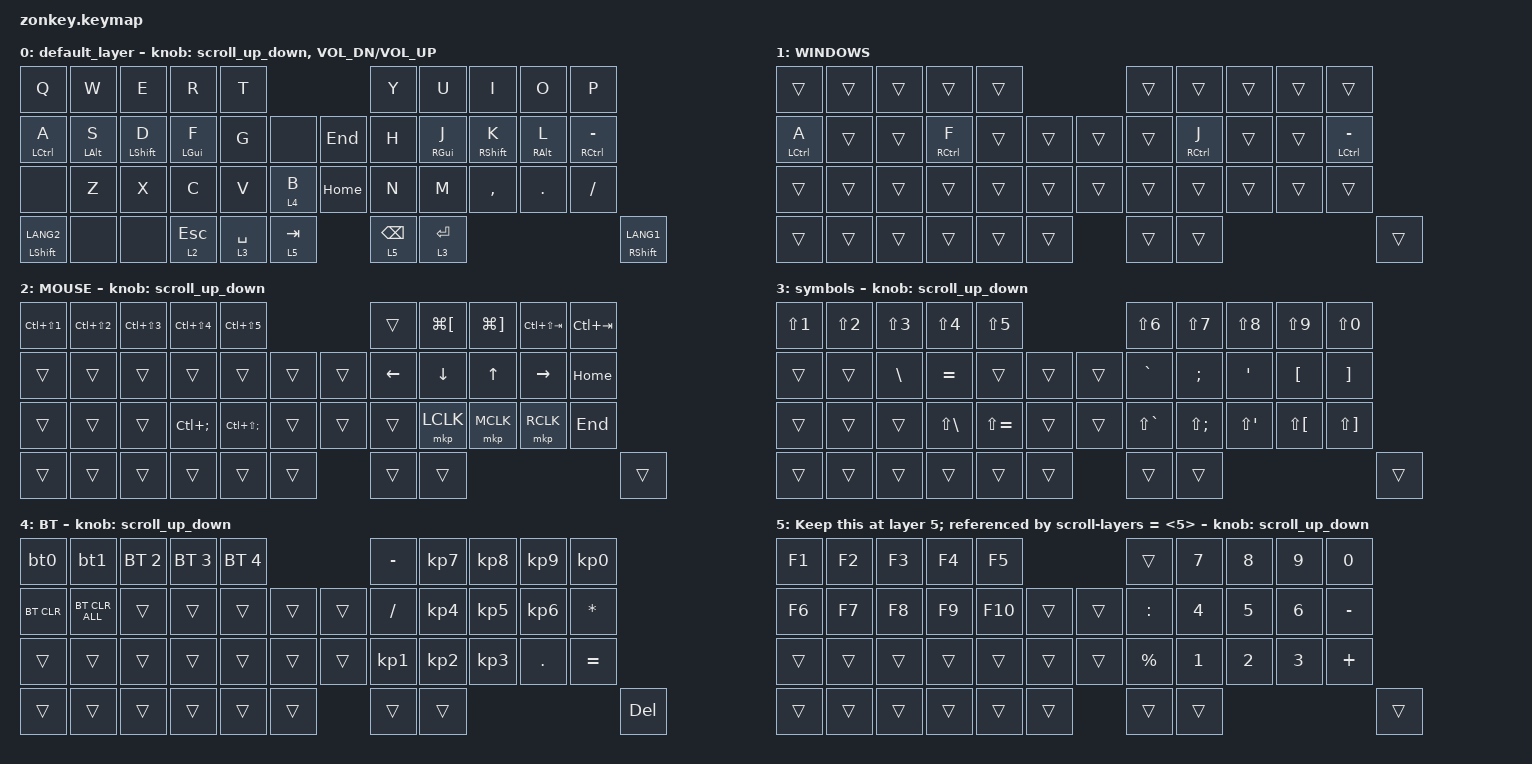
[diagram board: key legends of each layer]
#include <behaviors.dtsi>
#include <dt-bindings/zmk/bt.h>
#include <dt-bindings/zmk/keys.h>
#include <dt-bindings/zmk/pointing.h>

#define ZMK_POINTING_DEFAULT_SCRL_VAL 100
#define MOUSE 6
#define JP_DQUOTE       AT                // "
#define JP_AMPERSAND    CARET             // &
#define JP_QUOTE        AMPERSAND         // '
#define JP_EQUAL        UNDER             // =
#define JP_CARET        EQUAL             // ^
#define JP_YEN          0x89              // ¥
#define JP_PLUS         COLON             // +
#define JP_TILDE        PLUS              // ~
#define JP_PIPE         LS(0x89)          // |
#define JP_AT           LEFT_BRACKET      // @
#define JP_COLON        SINGLE_QUOTE      // :
#define JP_ASTERISK     DOUBLE_QUOTES     // *
#define JP_BACKQUOTE    LEFT_BRACE        // `
#define JP_UNDERSCORE   LS(0x87)          // _
#define JP_LBRACKET     RIGHT_BRACKET     // [
#define JP_RBRACKET     BACKSLASH         // ]
#define JP_LPAREN       ASTERISK          // (
#define JP_RPAREN       LEFT_PARENTHESIS  // )
#define JP_LBRACE       RIGHT_BRACE       // {
#define JP_RBRACE       PIPE              // }
#define JP_KANA         LANGUAGE_1        // かな
#define JP_EISU         LANGUAGE_2        // 英数
#define JP_HANZEN       GRAVE             // 半角/全角
#define JP_BSLH  INT1         // (backslash)

&mt {
    flavor = "balanced";
    quick-tap-ms = <200>;
    require-prior-idle-ms = <125>;
};

&lt {
    quick-tap-ms = <200>;
    require-prior-idle-ms = <125>;
    flavor = "balanced";
};

/ {
    combos { compatible = "zmk,combos"; };

    mo2: mo2 {
        compatible = "zmk,behavior-mod-morph";
        #binding-cells = <0>;
        bindings = <&kp N2>, <&kp AT>;

        mods = <(MOD_LSFT|MOD_RSFT)>;
    };

    mo6: mo6 {
        compatible = "zmk,behavior-mod-morph";
        #binding-cells = <0>;
        bindings = <&kp N6>, <&kp CARET>;

        mods = <(MOD_LSFT|MOD_RSFT)>;
    };

    mo7: mo7 {
        compatible = "zmk,behavior-mod-morph";
        #binding-cells = <0>;
        bindings = <&kp N7>, <&kp AMPS>;

        mods = <(MOD_LSFT|MOD_RSFT)>;
    };

    mo8: mo8 {
        compatible = "zmk,behavior-mod-morph";
        #binding-cells = <0>;
        bindings = <&kp N8>, <&kp ASTRK>;

        mods = <(MOD_LSFT|MOD_RSFT)>;
    };

    mo9: mo9 {
        compatible = "zmk,behavior-mod-morph";
        #binding-cells = <0>;
        bindings = <&kp N9>, <&kp LPAR>;

        mods = <(MOD_LSFT|MOD_RSFT)>;
    };

    mo0: mo0 {
        compatible = "zmk,behavior-mod-morph";
        #binding-cells = <0>;
        bindings = <&kp N0>, <&kp LS(N9)>;

        mods = <(MOD_LSFT|MOD_RSFT)>;
    };

    moA: moA {
        compatible = "zmk,behavior-mod-morph";
        #binding-cells = <0>;
        bindings = <&kp MINUS>, <&kp UNDERSCORE>;

        mods = <(MOD_LSFT|MOD_RSFT)>;
    };

    moB: moB {
        compatible = "zmk,behavior-mod-morph";
        #binding-cells = <0>;
        bindings = <&kp EQUAL>, <&kp PLUS>;

        mods = <(MOD_LSFT|MOD_RSFT)>;
    };

    moC: moC {
        compatible = "zmk,behavior-mod-morph";
        #binding-cells = <0>;
        bindings = <&kp INT3>, <&kp JP_PIPE>;

        mods = <(MOD_LSFT|MOD_RSFT)>;
    };

    moD: moD {
        compatible = "zmk,behavior-mod-morph";
        #binding-cells = <0>;
        bindings = <&kp LBKT>, <&kp LBRC>;

        mods = <(MOD_LSFT|MOD_RSFT)>;
    };

    moE: moE {
        compatible = "zmk,behavior-mod-morph";
        #binding-cells = <0>;
        bindings = <&kp RBKT>, <&kp RBRC>;

        mods = <(MOD_LSFT|MOD_RSFT)>;
    };

    moF: moF {
        compatible = "zmk,behavior-mod-morph";
        #binding-cells = <0>;
        bindings = <&kp SEMI>, <&kp KP_PLUS>;

        mods = <(MOD_LSFT|MOD_RSFT)>;
    };

    moG: moG {
        compatible = "zmk,behavior-mod-morph";
        #binding-cells = <0>;
        bindings = <&kp APOSTROPHE>, <&kp DQT>;

        mods = <(MOD_LSFT|MOD_RSFT)>;
    };

    moH: moH {
        compatible = "zmk,behavior-mod-morph";
        #binding-cells = <0>;
        bindings = <&kp BACKSLASH>, <&kp TILDE2>;

        mods = <(MOD_LSFT|MOD_RSFT)>;
    };

    moI: moI {
        compatible = "zmk,behavior-mod-morph";
        #binding-cells = <0>;
        bindings = <&kp JP_BSLH>, <&kp JP_UNDERSCORE>;

        mods = <(MOD_LSFT|MOD_RSFT)>;
    };

    macros {
        to_layer_0: to_layer_0 {
            compatible = "zmk,behavior-macro-one-param";
            #binding-cells = <1>;
            bindings = <&to 0 &macro_param_1to1 &kp MACRO_PLACEHOLDER>;
            label = "TO_LAYER_0";
        };

        // Mac に接続、デフォルトレイヤーを ON

        bt0: bt0 {
            compatible = "zmk,behavior-macro";
            #binding-cells = <0>;
            bindings =
                <&togg_off 1 &togg_off 2>,
                <&macro_wait_time 200>,
                <&bt BT_SEL 0>,
                <&macro_wait_time 500>;

            label = "BT0";
        };

        // Windows に接続、Windows レイヤーを ON

        bt1: bt1 {
            compatible = "zmk,behavior-macro";
            #binding-cells = <0>;
            bindings =
                <&togg_off 1 &togg_off 2>,
                <&macro_wait_time 200>,
                <&bt BT_SEL 1>,
                <&macro_wait_time 500>,
                <&togg_on 1>;

            label = "BT0";
        };
    };

    behaviors {
        lt_to_layer_0: lt_to_layer_0 {
            compatible = "zmk,behavior-hold-tap";
            label = "LAYER_TAP_TO_0";
            bindings = <&mo>, <&to_layer_0>;

            #binding-cells = <2>;
            tapping-term-ms = <200>;
        };

        scroll_up_down: behavior_sensor_rotate_mouse_wheel_up_down {
            compatible = "zmk,behavior-sensor-rotate";
            #sensor-binding-cells = <0>;
            bindings = <&msc SCRL_DOWN>, <&msc SCRL_UP>;

            tap-ms = <20>;
        };

        togg_on: toggle_layer_on_only {
            compatible = "zmk,behavior-toggle-layer";
            #binding-cells = <1>;
            display-name = "Toggle Layer On";
            toggle-mode = "on";
        };

        togg_off: toggle_layer_off_only {
            compatible = "zmk,behavior-toggle-layer";
            #binding-cells = <1>;
            display-name = "Toggle Layer Off";
            toggle-mode = "off";
        };
    };

    keymap {
        compatible = "zmk,keymap";

        default_layer {
            // -----------------------------------------------------------------------------------------
            // |  Q  |  W  |  E  |  R  |  T  |                        |  Y  |  U   |  I  |  O  |  P  |
            // |  A  |  S  |  D  |  F  |  G  |LS(LG(S))|        　 | - |  H  |  J   |  K  |  L  |  `  |
            // |SHIFT|  Z  |  X  |  C  |  V  |  B  |           | ; |  N  |  M   |  ,  |  .  |  /  |
            // | CTRL | WIN | ALT |HENKAN|SPACE|MUHENKAN|       | BS | ENT |      　　　　       | DEL |

            bindings = <
&kp Q                 &kp W           &kp E             &kp R           &kp T                               &kp Y            &kp U            &kp I              &kp O            &kp P
&mt LEFT_CONTROL A    &mt LEFT_ALT S  &mt LEFT_SHIFT D  &mt LEFT_GUI F  &kp G        &none        &kp END   &kp H            &mt RIGHT_GUI J  &mt RIGHT_SHIFT K  &mt RIGHT_ALT L  &mt RIGHT_CONTROL MINUS
&none                 &kp Z           &kp X             &kp C           &kp V        &lt 4 B      &kp HOME  &kp N            &kp M            &kp COMMA          &kp PERIOD       &kp SLASH
&mt LEFT_SHIFT LANG2  &none           &none             &lt 2 ESC       &lt 3 SPACE  &lt 5 TAB              &lt 5 BACKSPACE  &lt 3 ENTER                                                                   &mt RIGHT_SHIFT LANG1
            >;

            sensor-bindings =
                <&scroll_up_down>,
                <&inc_dec_kp C_VOL_DN C_VOL_UP>;
        };

        WINDOWS {
            bindings = <
&trans              &trans  &trans  &trans               &trans                    &trans  &trans               &trans  &trans  &trans
&mt LEFT_CONTROL A  &trans  &trans  &mt RIGHT_CONTROL F  &trans  &trans    &trans  &trans  &mt RIGHT_CONTROL J  &trans  &trans  &mt LEFT_CONTROL MINUS
&trans              &trans  &trans  &trans               &trans  &trans    &trans  &trans  &trans               &trans  &trans  &trans
&trans              &trans  &trans  &trans               &trans  &trans            &trans  &trans                                                       &trans
            >;
        };

        MOUSE {
            // -----------------------------------------------------------------------------------------
            // | 半角/全角 |CAPS|     |     |     |                     |     |     |  -  |  ^  |  ¥  |
            // | TAB |     |     |     |     |     |              |    |     |     |     |  @  |  [  |
            // |SHIFT|     |     |     |     |     |            | 英数 | かな |     |     |     |  ]  |
            // | CTRL| WIN | ALT |HENKAN|SPACE|MUHENKAN|         | BS | ENT |                   | DEL |

            bindings = <
&kp LC(LS(NUMBER_1))  &kp LC(LS(NUMBER_2))  &kp LC(LS(NUMBER_3))  &kp LC(LS(NUMBER_4))  &kp LC(LS(NUMBER_5))                     &trans    &kp LG(LEFT_BRACKET)  &kp LG(RIGHT_BRACKET)  &kp LC(LS(TAB))  &kp LC(TAB)
&trans                &trans                &trans                &trans                &trans                 &trans    &trans  &kp LEFT  &kp DOWN              &kp UP                 &kp RIGHT        &kp HOME
&trans                &trans                &trans                &kp LC(SEMICOLON)     &kp LC(LS(SEMICOLON))  &trans    &trans  &trans    &mkp LCLK             &mkp MCLK              &mkp RCLK        &kp END
&trans                &trans                &trans                &trans                &trans                 &trans            &trans    &trans                                                                     &trans
            >;

            sensor-bindings = <&scroll_up_down>;
        };

        symbols {
            // -----------------------------------------------------------------------------------------
            // |  1  |  2  |  3  |  4  |  5  |                     |  6  |  7  |  8  |  9  |   0  |
            // |      |     |     |     |     |     |           |    |     |     |     |  ↑  |      |
            // |SHIFT|     |     |     |     |     |           |     |     |     |  ←  |  ↓  |  →  |
            // | CTRL| WIN | ALT |HENKAN|SPACE|MUHENKAN|         | BS | ENT |                   | DEL |

            bindings = <
&kp LS(N1)  &kp LS(NUMBER_2)  &kp LS(NUMBER_3)  &kp LS(NUMBER_4)   &kp LS(N5)                       &kp LS(NUMBER_6)  &kp LS(N7)         &kp LS(N8)            &kp LS(N9)            &kp LS(N0)
&trans      &trans            &kp BACKSLASH     &kp EQUAL          &trans         &trans    &trans  &kp GRAVE         &kp SEMICOLON      &kp SINGLE_QUOTE      &kp LEFT_BRACKET      &kp RIGHT_BRACKET
&trans      &trans            &trans            &kp LS(BACKSLASH)  &kp LS(EQUAL)  &trans    &trans  &kp LS(GRAVE)     &kp LS(SEMICOLON)  &kp LS(SINGLE_QUOTE)  &kp LS(LEFT_BRACKET)  &kp LS(RIGHT_BRACKET)
&trans      &trans            &trans            &trans             &trans         &trans            &trans            &trans                                                                                &trans
            >;

            sensor-bindings = <&scroll_up_down>;
        };

        BT {
            // -----------------------------------------------------------------------------------------
            // | BT0 | BT1 | BT2 | BT3 | BT4 |                |  -  |  7  |  8  |  9  |  +  |
            // |BTCLR |     |     |     |     |     |           |  /  |  4  |  5  |  6  |  *  |
            // |SHIFT|     |     |     |     |     |           |  0  |  1  |  2  |   3 |  .  |  =  |
            // | CTRL| WIN | ALT |HENKAN|SPACE|MUHENKAN|        | BS | ENT |                  | DEL |

            bindings = <
&bt0        &bt1            &bt BT_SEL 2  &bt BT_SEL 3  &bt BT_SEL 4                    &kp MINUS        &kp KP_NUMBER_7  &kp KP_NUMBER_8  &kp KP_NUMBER_9  &kp KP_NUMBER_0
&bt BT_CLR  &bt BT_CLR_ALL  &trans        &trans        &trans        &trans    &trans  &kp SLASH        &kp KP_NUMBER_4  &kp KP_NUMBER_5  &kp KP_NUMBER_6  &kp ASTERISK
&trans      &trans          &trans        &trans        &trans        &trans    &trans  &kp KP_NUMBER_1  &kp KP_NUMBER_2  &kp KP_NUMBER_3  &kp PERIOD       &kp EQUAL
&trans      &trans          &trans        &trans        &trans        &trans            &trans           &trans                                                              &kp DEL
            >;

            sensor-bindings = <&scroll_up_down>;
        };

        SCROLL {
            // -----------------------------------------------------------------------------------------
            // | F1  | F2  | F3  | F4  | F5  |                     | F6  | F7 | F8  | F9 | F10 |
            // | F11 | F12 |     |     |     |     |           |    |     |     |     |     |      |
            // |SHIFT|     |     |     |     |     |           |     |     |     |     |     |      |
            // | CTRL| WIN | ALT |HENKAN|SPACE|MUHENKAN|         | BS | ENT |                   | DEL |

            bindings = <
&kp F1  &kp F2  &kp F3  &kp F4  &kp F5                     &trans       &kp NUMBER_7  &kp NUMBER_8  &kp NUMBER_9  &kp NUMBER_0
&kp F6  &kp F7  &kp F8  &kp F9  &kp F10  &trans    &trans  &kp COLON    &kp NUMBER_4  &kp NUMBER_5  &kp NUMBER_6  &kp MINUS
&trans  &trans  &trans  &trans  &trans   &trans    &trans  &kp PERCENT  &kp NUMBER_1  &kp NUMBER_2  &kp NUMBER_3  &kp PLUS
&trans  &trans  &trans  &trans  &trans   &trans            &trans       &trans                                                  &trans
            >;

            sensor-bindings = <&scroll_up_down>;
            label = "Keep this at layer 5; referenced by scroll-layers = <5>";
        };
    };
};
